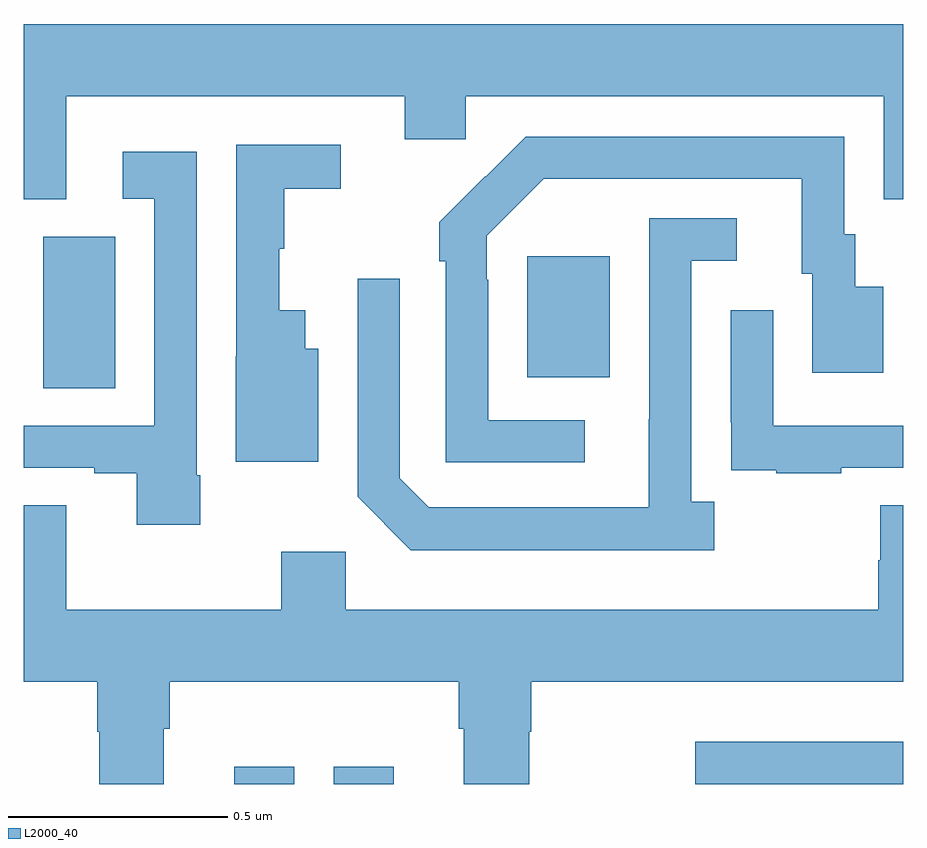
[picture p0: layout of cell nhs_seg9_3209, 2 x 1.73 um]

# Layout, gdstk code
import gdstk
lib = gdstk.Library(unit=1e-6, precision=1e-09)
def R(c, l, rs):  # rectangles x0, y0, x1, y1
    for r in rs: c.add(gdstk.rectangle(r[:2], r[2:], *l))
def P(c, l, *ps):  # polygons
    for p in ps: c.add(gdstk.Polygon(p, *l))
L2000_40 = (2000, 40)

nhs_seg9_3209 = lib.new_cell('nhs_seg9_3209')
R(nhs_seg9_3209, L2000_40, [(150.479,1217.5,150.615,1217.539), (150.705,1217.5,150.841,1217.539), (151.527,1217.5,152,1217.596), (150.044,1218.4,150.208,1218.744), (151.145,1218.425,151.333,1218.7)])
P(nhs_seg9_3209, L2000_40, [(150.097,1219.064),(150.866,1219.064),(150.866,1218.966),(151.005,1218.966),(151.005,1219.064),(151.955,1219.064),(151.955,1218.829),(152,1218.829),(152,1219.228),(150,1219.228),(150,1218.829),(150.097,1218.829)],
  [(151.276,1218.327),(151.056,1218.327),(151.056,1218.647),(151.053,1218.647),(151.053,1218.747),(151.182,1218.876),(151.769,1218.876),(151.769,1218.66),(151.793,1218.66),(151.793,1218.435),(151.954,1218.435),(151.954,1218.631),(151.891,1218.631),(151.891,1218.75),(151.866,1218.75),(151.866,1218.972),(151.142,1218.972),(151.051,1218.881),(151.05,1218.882),(150.945,1218.777),(150.945,1218.689),(150.96,1218.689),(150.96,1218.231),(151.276,1218.231)],
  [(150.67,1218.49),(150.64,1218.49),(150.64,1218.577),(150.581,1218.577),(150.581,1218.717),(150.592,1218.717),(150.592,1218.853),(150.721,1218.853),(150.721,1218.954),(150.483,1218.954),(150.483,1218.473),(150.482,1218.473),(150.482,1218.233),(150.67,1218.233)],
  [(150.402,1218.202),(150.393,1218.202),(150.393,1218.937),(150.225,1218.937),(150.225,1218.831),(150.297,1218.831),(150.297,1218.315),(150,1218.315),(150,1218.219),(150.161,1218.219),(150.161,1218.207),(150.257,1218.207),(150.257,1218.09),(150.402,1218.09)],
  [(151.57,1218.142),(151.518,1218.142),(151.518,1218.69),(151.621,1218.69),(151.621,1218.786),(151.422,1218.786),(151.422,1218.329),(151.421,1218.329),(151.421,1218.129),(150.921,1218.129),(150.855,1218.195),(150.855,1218.649),(150.759,1218.649),(150.759,1218.153),(150.88,1218.032),(151.57,1218.032)],
  [(151.859,1218.219),(152,1218.219),(152,1218.315),(151.704,1218.315),(151.704,1218.577),(151.608,1218.577),(151.608,1218.322),(151.609,1218.322),(151.609,1218.213),(151.711,1218.213),(151.711,1218.207),(151.859,1218.207)],
  [(150.319,1217.626),(150.332,1217.626),(150.332,1217.732),(150.989,1217.732),(150.989,1217.626),(151.001,1217.626),(151.001,1217.5),(151.149,1217.5),(151.149,1217.619),(151.154,1217.619),(151.154,1217.732),(152,1217.732),(152,1218.134),(151.948,1218.134),(151.948,1218.009),(151.943,1218.009),(151.943,1217.896),(150.732,1217.896),(150.732,1218.028),(150.586,1218.028),(150.586,1217.896),(150.097,1217.896),(150.097,1218.134),(150,1218.134),(150,1217.732),(150.167,1217.732),(150.167,1217.619),(150.172,1217.619),(150.172,1217.5),(150.319,1217.5)])

lib.write_gds('nhs_seg9_3209.gds')
